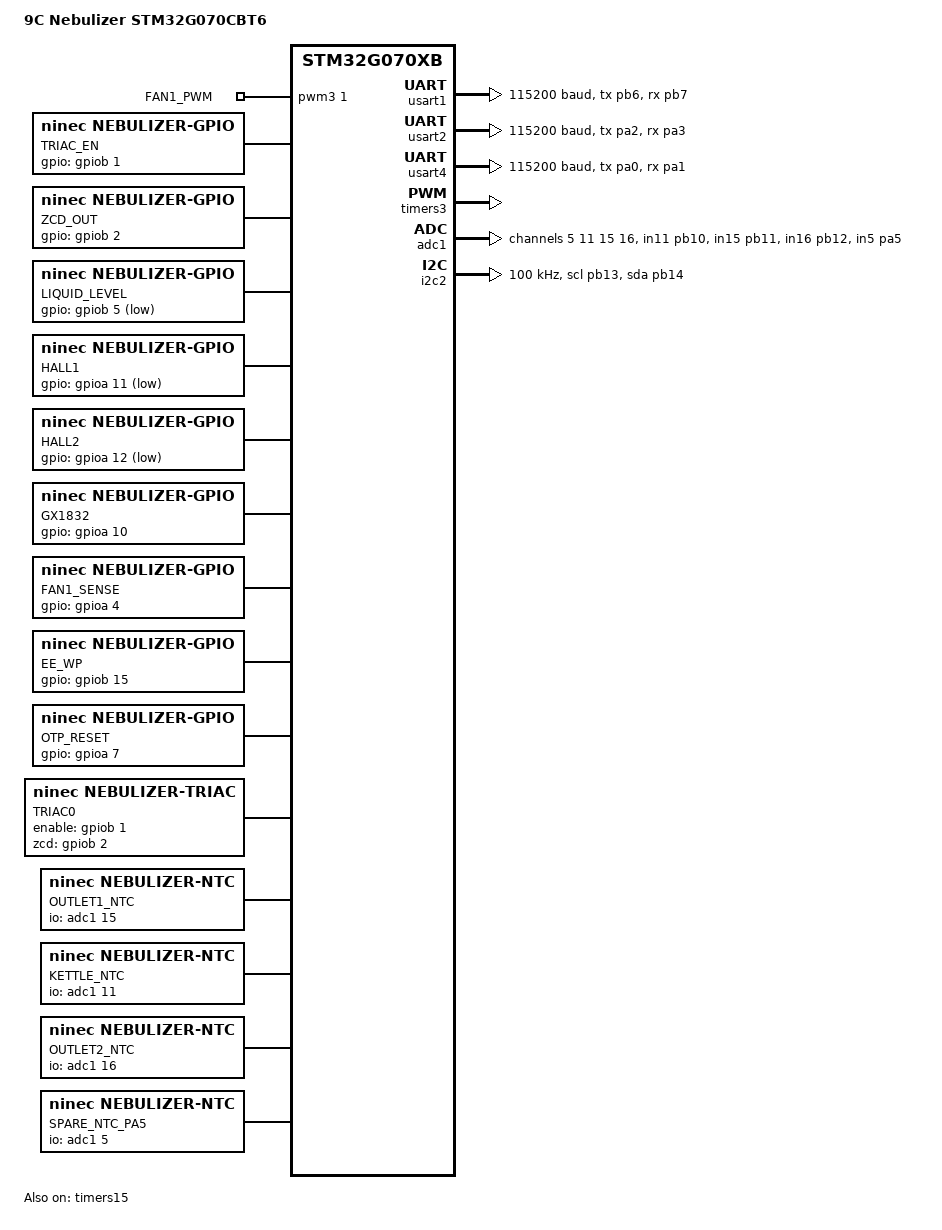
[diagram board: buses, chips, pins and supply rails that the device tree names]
/dts-v1/;
#include <st/g0/stm32g070Xb.dtsi>
#include "pinctrl.dtsi"
#include <zephyr/dt-bindings/adc/adc.h>
#include <zephyr/dt-bindings/gpio/gpio.h>
#include <zephyr/dt-bindings/pwm/pwm.h>
#include <zephyr/dt-bindings/i2c/i2c.h>

/ {
	model = "9C Nebulizer STM32G070CBT6";
	compatible = "ninec,nebulizer-g070cbt6";

	chosen {
		zephyr,console = &usart2;
		zephyr,shell-uart = &usart2;
		zephyr,sram = &sram0;
		zephyr,flash = &flash0;
	};

		aliases {
			host-uart = &usart1;
			debug-uart = &usart2;
			mist-uart = &usart4;
			otp-reset = &otp_reset;
			triac-en = &triac_en;
			zcd-in = &zcd_in;
			fan1-pwm = &fan1_pwm;
		fan1-sense = &fan1_sense;
		liquid-level = &liquid_level;
		hall1 = &hall1;
		hall2 = &hall2;
		gx1832 = &gx1832;
		ntc1 = &ntc1;
		ntc2 = &ntc2;
		ntc3 = &ntc3;
		ntc4 = &ntc4;
		ee-wp = &ee_wp;
	};

	pwmleds {
		compatible = "pwm-leds";

		fan1_pwm: fan1_pwm {
			pwms = <&pwm3 1 PWM_USEC(100) PWM_POLARITY_NORMAL>;
			label = "FAN1_PWM";
		};
	};

	nebulizer_ios {
		compatible = "simple-bus";
		#address-cells = <1>;
		#size-cells = <0>;

		triac_en: gpio@0 {
			compatible = "ninec,nebulizer-gpio";
			reg = <0>;
			label = "TRIAC_EN";
			gpios = <&gpiob 1 GPIO_ACTIVE_HIGH>;
		};

		zcd_in: gpio@1 {
			compatible = "ninec,nebulizer-gpio";
			reg = <1>;
			label = "ZCD_OUT";
			gpios = <&gpiob 2 GPIO_ACTIVE_HIGH>;
		};

		liquid_level: gpio@2 {
			compatible = "ninec,nebulizer-gpio";
			reg = <2>;
			label = "LIQUID_LEVEL";
			gpios = <&gpiob 5 (GPIO_ACTIVE_LOW | GPIO_PULL_UP)>;
			debounce-ms = <20>;
		};

		hall1: gpio@3 {
			compatible = "ninec,nebulizer-gpio";
			reg = <3>;
			label = "HALL1";
			gpios = <&gpioa 11 (GPIO_ACTIVE_LOW | GPIO_PULL_UP)>;
			debounce-ms = <20>;
		};

		hall2: gpio@4 {
			compatible = "ninec,nebulizer-gpio";
			reg = <4>;
			label = "HALL2";
			gpios = <&gpioa 12 (GPIO_ACTIVE_LOW | GPIO_PULL_UP)>;
			debounce-ms = <20>;
		};

		gx1832: gpio@5 {
			compatible = "ninec,nebulizer-gpio";
			reg = <5>;
			label = "GX1832";
			gpios = <&gpioa 10 (GPIO_ACTIVE_HIGH | GPIO_PULL_DOWN)>;
		};

		fan1_sense: gpio@6 {
			compatible = "ninec,nebulizer-gpio";
			reg = <6>;
			label = "FAN1_SENSE";
			gpios = <&gpioa 4 (GPIO_ACTIVE_HIGH | GPIO_PULL_UP)>;
		};

			ee_wp: gpio@7 {
				compatible = "ninec,nebulizer-gpio";
				reg = <7>;
				label = "EE_WP";
				gpios = <&gpiob 15 GPIO_ACTIVE_HIGH>;
			};

			otp_reset: gpio@8 {
				compatible = "ninec,nebulizer-gpio";
				reg = <8>;
				label = "OTP_RESET";
				gpios = <&gpioa 7 GPIO_ACTIVE_HIGH>;
			};
		};

	triac0: triac {
		compatible = "ninec,nebulizer-triac";
		label = "TRIAC0";
		enable-gpios = <&gpiob 1 GPIO_ACTIVE_HIGH>;
		zcd-gpios = <&gpiob 2 GPIO_ACTIVE_HIGH>;
		counter = <&triac_counter>;
		pulse-width-us = <500>;
		default-delay-us = <4000>;
	};

	ntc_bank {
		compatible = "simple-bus";
		#address-cells = <1>;
		#size-cells = <0>;

		ntc1: ntc@0 {
			compatible = "ninec,nebulizer-ntc";
			reg = <0>;
			label = "OUTLET1_NTC";
			io-channels = <&adc1 15>;
			pullup-ohms = <10000>;
			nominal-ohms = <10000>;
			beta = <3950>;
			nominal-temp-c = <25>;
		};

		ntc2: ntc@1 {
			compatible = "ninec,nebulizer-ntc";
			reg = <1>;
			label = "KETTLE_NTC";
			io-channels = <&adc1 11>;
			pullup-ohms = <10000>;
			nominal-ohms = <10000>;
			beta = <3950>;
			nominal-temp-c = <25>;
		};

		ntc3: ntc@2 {
			compatible = "ninec,nebulizer-ntc";
			reg = <2>;
			label = "OUTLET2_NTC";
			io-channels = <&adc1 16>;
			pullup-ohms = <10000>;
			nominal-ohms = <10000>;
			beta = <3950>;
			nominal-temp-c = <25>;
		};

		ntc4: ntc@3 {
			compatible = "ninec,nebulizer-ntc";
			reg = <3>;
			label = "SPARE_NTC_PA5";
			io-channels = <&adc1 5>;
			pullup-ohms = <10000>;
			nominal-ohms = <10000>;
			beta = <3950>;
			nominal-temp-c = <25>;
		};
	};

	reserved_leds {
		compatible = "gpio-leds";

		reserved_led0: led0 {
			gpios = <&gpioc 14 GPIO_ACTIVE_HIGH>;
			label = "DBG_LED0";
			status = "disabled";
		};

		reserved_led1: led1 {
			gpios = <&gpioc 15 GPIO_ACTIVE_HIGH>;
			label = "DBG_LED1";
			status = "disabled";
		};
	};
};

&clk_lsi {
	status = "okay";
};

&clk_hsi {
	status = "okay";
};

&pll {
	div-m = <1>;
	mul-n = <8>;
	div-p = <2>;
	div-r = <2>;
	clocks = <&clk_hsi>;
	status = "okay";
};

&rcc {
	clocks = <&pll>;
	clock-frequency = <DT_FREQ_M(64)>;
	ahb-prescaler = <1>;
	apb1-prescaler = <1>;
};

&usart1 {
	pinctrl-0 = <&usart1_tx_pb6 &usart1_rx_pb7>;
	pinctrl-names = "default";
	current-speed = <115200>;
	status = "okay";
};

&usart2 {
	pinctrl-0 = <&usart2_tx_pa2 &usart2_rx_pa3>;
	pinctrl-names = "default";
	current-speed = <115200>;
	status = "okay";
};

&usart4 {
	pinctrl-0 = <&usart4_tx_pa0 &usart4_rx_pa1>;
	pinctrl-names = "default";
	current-speed = <115200>;
	status = "okay";
};

&timers3 {
	st,prescaler = <0>;
	status = "okay";

	pwm3: pwm {
		status = "okay";
		pinctrl-0 = <&tim3_ch1_pa6>;
		pinctrl-names = "default";
	};
};

&timers15 {
	st,prescaler = <63>;
	status = "okay";

	triac_counter: counter {
		status = "okay";
	};
};

&adc1 {
	#address-cells = <1>;
	#size-cells = <0>;
	pinctrl-0 = <&adc1_in11_pb10 &adc1_in15_pb11
		     &adc1_in16_pb12 &adc1_in5_pa5>;
	pinctrl-names = "default";
	st,adc-clock-source = "SYNC";
	st,adc-prescaler = <4>;
	status = "okay";
	vref-mv = <3300>;

	channel@5 {
		reg = <5>;
		zephyr,gain = "ADC_GAIN_1";
		zephyr,reference = "ADC_REF_INTERNAL";
		zephyr,acquisition-time = <ADC_ACQ_TIME_DEFAULT>;
		zephyr,resolution = <12>;
	};

	channel@b {
		reg = <11>;
		zephyr,gain = "ADC_GAIN_1";
		zephyr,reference = "ADC_REF_INTERNAL";
		zephyr,acquisition-time = <ADC_ACQ_TIME_DEFAULT>;
		zephyr,resolution = <12>;
	};

	channel@f {
		reg = <15>;
		zephyr,gain = "ADC_GAIN_1";
		zephyr,reference = "ADC_REF_INTERNAL";
		zephyr,acquisition-time = <ADC_ACQ_TIME_DEFAULT>;
		zephyr,resolution = <12>;
	};

	channel@10 {
		reg = <16>;
		zephyr,gain = "ADC_GAIN_1";
		zephyr,reference = "ADC_REF_INTERNAL";
		zephyr,acquisition-time = <ADC_ACQ_TIME_DEFAULT>;
		zephyr,resolution = <12>;
	};
};

&i2c2 {
	pinctrl-0 = <&i2c2_scl_pb13 &i2c2_sda_pb14>;
	pinctrl-names = "default";
	clock-frequency = <I2C_BITRATE_STANDARD>;
	status = "okay";
};

&flash0 {
	partitions {
		compatible = "fixed-partitions";
		#address-cells = <1>;
		#size-cells = <1>;

		storage_partition: partition@1f000 {
			label = "storage";
			reg = <0x0001f000 DT_SIZE_K(4)>;
		};
	};
};
